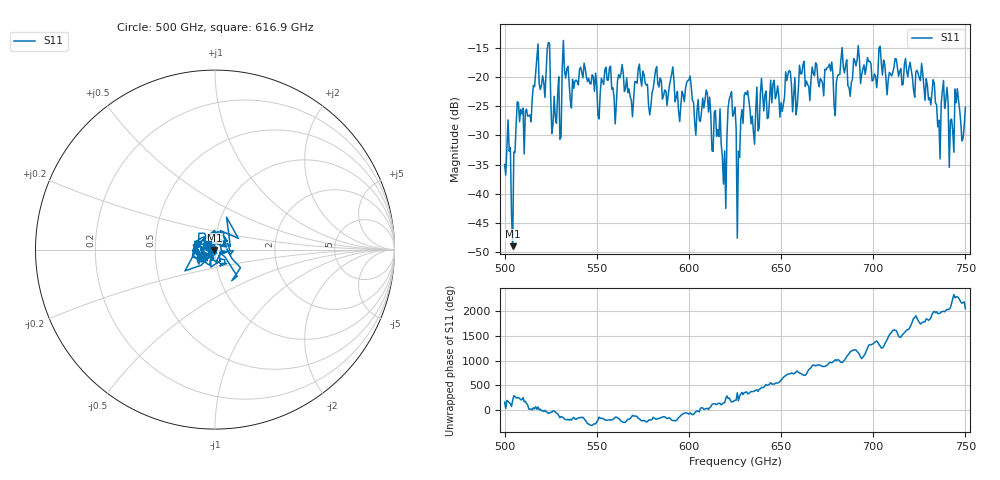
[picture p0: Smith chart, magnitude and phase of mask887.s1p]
!Created with skrf (http://scikit-rf.org).
# GHz S MA R 50.0
!freq magS11 angS11
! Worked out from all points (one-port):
!   401 points, 500 GHz to 750 GHz, reference 50 ohm
!   lowest |S11| = -49.0 dB at 504.4 GHz (marker M1), VSWR 1.01, Z = 49.7 - j0.133 ohm
!   |S11| at or under -10 dB: start of sweep to end of sweep
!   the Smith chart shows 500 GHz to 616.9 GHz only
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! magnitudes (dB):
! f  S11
! 500 GHz  -35.0
! 504.4 GHz  -49.0
! 507.5 GHz  -24.4
! 513.8 GHz  -26.5
! 516.9 GHz  -19.1
! 523.8 GHz  -14.1
! 526.9 GHz  -23.3
! 531.2 GHz  -18.6
! 533.1 GHz  -20.2
! 551.2 GHz  -27.2
! 562.5 GHz  -20.2
! 593.8 GHz  -22.5
! 610 GHz  -22.8
! 618.8 GHz  -38.3
! 622.5 GHz  -23.3
! 625 GHz  -25.2
! 627.5 GHz  -33.8
! 631.2 GHz  -23.0
! 635 GHz  -29.4
! 656.2 GHz  -26.0
! 687.5 GHz  -23.3
! 690.6 GHz  -18.1
! 718.8 GHz  -20.0
! 735 GHz  -28.5
! 738.8 GHz  -25.4
! 742.5 GHz  -27.2
! 745.6 GHz  -22.0
! 750 GHz  -25.2
